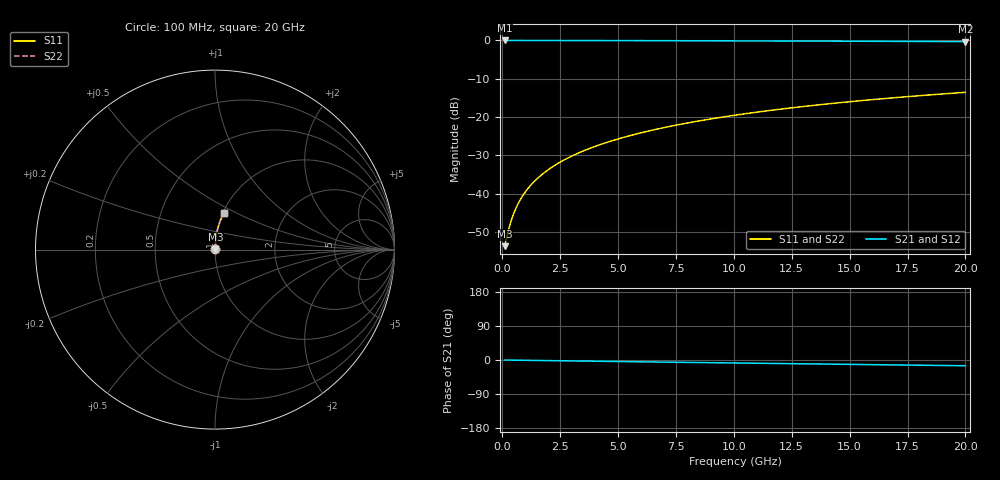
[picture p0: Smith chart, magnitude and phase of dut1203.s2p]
! Touchstone file exported from HFSS 2024.1.0
!  File:  C:/UserFiles/LocalFiles/RDL_TSV_Batchsim/temp_RDL_top_1203_1780239412.aedt
!  Generated:  11:00:02 PM May 31, 2026
!  Design:  RDL_top
!  Project:  temp_RDL_top_1203_1780239412
!  Setup:  Setup1
!  Solution:  Sweep
! Variables:
!  dtsv = 10.80580581um
!  hbump = 3um
!  htsv = 70.32um
!  ldown = 100um
!  lrdl = 130.08um
!  p = 40
!  p1 = 56.76um
!  rhole = 1um
!  t = 450um
!  tdown = 3.915915916um
!  trdl = 2.21um
!  wdown = 15.38538539um
!  wrdl = 14.29um
# GHz S MA R 50.000000
! Terminal data exported
! Port[1] = Box2_T1
! Port[2] = Box2_T2
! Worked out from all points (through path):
!   200 points, 100 MHz to 20 GHz, reference 50 ohm
!   highest |S21| = -0.02 dB at 100 MHz (marker M1); lowest = -0.3 dB at 20 GHz (marker M2)
!   group delay of S21, straight-line fit = 2.1 ps
!   lowest |S11| = -53.7 dB at 100 MHz (marker M3), VSWR 1.00, Z = 50.2 + j0.107 ohm
!   |S11| at or under -10 dB: start of sweep to end of sweep
!   |S22| runs from -53.7 to -13.5 dB; largest |S21 - S12| = 2.2e-15
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0.1  0.002071 30.9  0.9982 -0.1  0.9982 -0.1  0.002071 30.9
! Gamma 0 0 0 0
! Port Impedance 50 0 50 0
0.3  0.003662 60.3  0.9982 -0.3  0.9982 -0.3  0.003662 60.3
0.4  0.004614 66.4  0.9981 -0.3  0.9981 -0.3  0.004614 66.4
0.5  0.005596 70.4  0.9981 -0.4  0.9981 -0.4  0.005596 70.4
0.6  0.006591 73.1  0.9981 -0.5  0.9981 -0.5  0.006591 73.1
0.8  0.008596 76.7  0.998 -0.7  0.998 -0.7  0.008596 76.7
1.1  0.01162 79.7  0.9978 -0.9  0.9978 -0.9  0.01162 79.7
1.3  0.01364 81.0  0.9977 -1.1  0.9977 -1.1  0.01364 81.0
1.5  0.01566 81.9  0.9976 -1.2  0.9976 -1.2  0.01566 81.9
1.8  0.01871 83.0  0.9974 -1.5  0.9974 -1.5  0.01871 83.0
2.1  0.02177 83.7  0.9972 -1.7  0.9972 -1.7  0.02177 83.7
2.7  0.02792 84.6  0.9968 -2.2  0.9968 -2.2  0.02792 84.6
3.5  0.03618 85.2  0.9961 -2.8  0.9961 -2.8  0.03618 85.2
4.2  0.04347 85.5  0.9953 -3.4  0.9953 -3.4  0.04347 85.5
5  0.05186 85.5  0.9943 -4.0  0.9943 -4.0  0.05186 85.5
5.9  0.06137 85.3  0.9931 -4.7  0.9931 -4.7  0.06137 85.3
6.8  0.07094 85.0  0.9918 -5.4  0.9918 -5.4  0.07094 85.0
8.3  0.08699 84.4  0.9894 -6.6  0.9894 -6.6  0.08699 84.3
10.1  0.1063 83.3  0.9861 -8.0  0.9861 -8.0  0.1063 83.3
13.4  0.1417 81.1  0.9796 -10.4  0.9796 -10.4  0.1417 81.1
16.7  0.1765 78.6  0.9722 -12.8  0.9722 -12.8  0.1764 78.6
20  0.2104 76.2  0.964 -15.2  0.964 -15.2  0.2104 76.2
